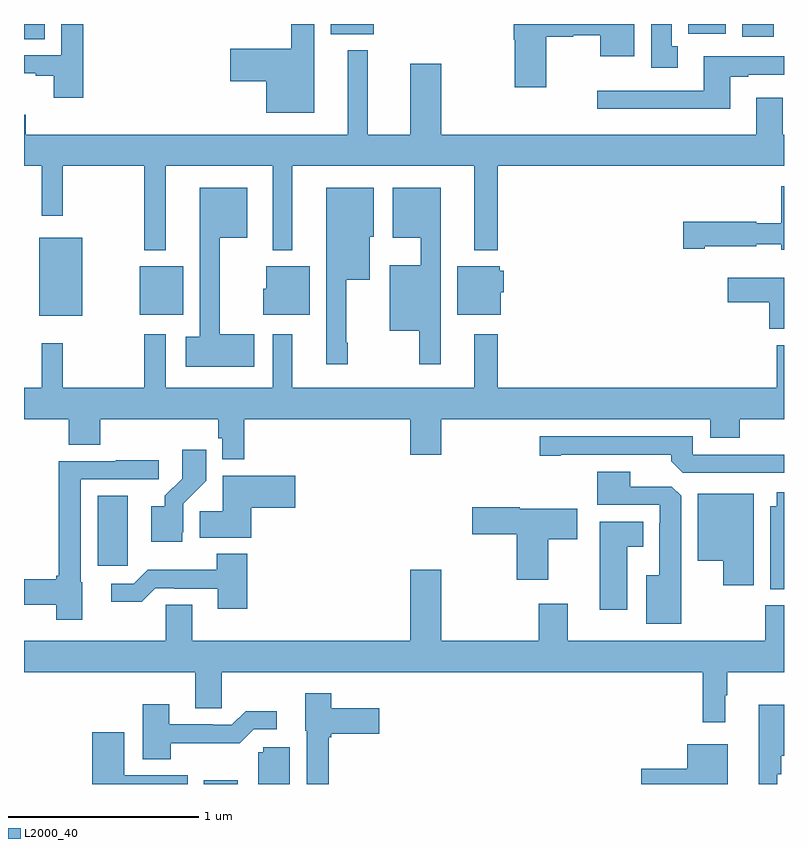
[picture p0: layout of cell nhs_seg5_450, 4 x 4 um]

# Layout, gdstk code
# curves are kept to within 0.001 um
import gdstk
lib = gdstk.Library(unit=1e-6, precision=1e-09)
def R(c, l, rs):  # rectangles x0, y0, x1, y1
    for r in rs: c.add(gdstk.rectangle(r[:2], r[2:], *l))
def P(c, l, *ps):  # polygons
    for p in ps: c.add(gdstk.Polygon(p, *l))
L2000_40 = (2000, 40)

nhs_seg5_450 = lib.new_cell('nhs_seg5_450')
R(nhs_seg5_450, L2000_40, [(139.947,894.799,140.125,894.82), (139.388,895.947,139.546,896.317), (139.079,897.263,139.306,897.673), (139.61,897.269,139.837,897.523), (139,898.72,139.108,898.799), (142.781,898.731,142.945,898.799), (140.615,898.745,140.842,898.799), (142.496,898.748,142.693,898.799)])
P(nhs_seg5_450, L2000_40, [(142.441,898.682),(142.408,898.682),(142.408,898.799),(142.301,898.799),(142.301,898.569),(142.441,898.569)],
  [(141.748,898.732),(141.891,898.732),(141.891,898.74),(142.034,898.74),(142.034,898.628),(142.213,898.628),(142.213,898.799),(141.578,898.799),(141.578,898.715),(141.583,898.715),(141.583,898.467),(141.748,898.467)],
  [(140.527,898.799),(140.406,898.799),(140.406,898.67),(140.085,898.67),(140.085,898.499),(140.276,898.499),(140.276,898.331),(140.527,898.331)],
  [(139.313,898.799),(139.197,898.799),(139.197,898.635),(139,898.635),(139,898.539),(139.061,898.539),(139.061,898.527),(139.157,898.527),(139.157,898.41),(139.313,898.41)],
  [(139.747,898.052),(140.309,898.052),(140.309,897.608),(140.413,897.608),(140.413,898.052),(141.371,898.052),(141.371,897.608),(141.493,897.608),(141.493,898.052),(143,898.052),(143,898.216),(142.993,898.216),(142.993,898.411),(142.853,898.411),(142.853,898.216),(141.196,898.216),(141.196,898.591),(141.032,898.591),(141.032,898.216),(140.809,898.216),(140.809,898.66),(140.705,898.66),(140.705,898.216),(139.01,898.216),(139.01,898.322),(139,898.322),(139,898.052),(139.094,898.052),(139.094,897.789),(139.204,897.789),(139.204,898.052),(139.633,898.052),(139.633,897.608),(139.747,897.608)],
  [(142.717,898.521),(142.813,898.521),(142.813,898.533),(143,898.533),(143,898.629),(142.577,898.629),(142.577,898.449),(142.017,898.449),(142.017,898.352),(142.717,898.352)],
  [(143,897.946),(142.985,897.946),(142.985,897.751),(142.854,897.751),(142.854,897.759),(142.47,897.759),(142.47,897.617),(142.582,897.617),(142.582,897.629),(142.854,897.629),(142.854,897.641),(142.985,897.641),(142.985,897.611),(143,897.611)],
  [(140.212,897.167),(140.029,897.167),(140.029,897.674),(140.176,897.674),(140.176,897.937),(139.925,897.937),(139.925,897.154),(139.851,897.154),(139.851,896.996),(140.212,896.996)],
  [(141.193,897.937),(140.942,897.937),(140.942,897.674),(141.089,897.674),(141.089,897.529),(140.924,897.529),(140.924,897.185),(141.079,897.185),(141.079,897.009),(141.193,897.009)],
  [(140.705,897.121),(140.695,897.121),(140.695,897.452),(140.821,897.452),(140.821,897.678),(140.842,897.678),(140.842,897.937),(140.591,897.937),(140.591,897.009),(140.705,897.009)],
  [(141.508,897.387),(141.526,897.387),(141.526,897.501),(141.504,897.501),(141.504,897.523),(141.281,897.523),(141.281,897.269),(141.508,897.269)],
  [(140.503,897.523),(140.276,897.523),(140.276,897.405),(140.258,897.405),(140.258,897.269),(140.503,897.269)],
  [(143,897.463),(142.704,897.463),(142.704,897.334),(142.922,897.334),(142.922,897.194),(143,897.194)],
  [(140.159,896.72),(141.032,896.72),(141.032,896.532),(141.196,896.532),(141.196,896.72),(142.613,896.72),(142.613,896.621),(142.766,896.621),(142.766,896.72),(143,896.72),(143,897.109),(142.963,897.109),(142.963,896.884),(141.493,896.884),(141.493,897.166),(141.371,897.166),(141.371,896.884),(140.413,896.884),(140.413,897.166),(140.309,897.166),(140.309,896.884),(139.747,896.884),(139.747,897.166),(139.633,897.166),(139.633,896.884),(139.204,896.884),(139.204,897.118),(139.094,897.118),(139.094,896.884),(139,896.884),(139,896.72),(139.235,896.72),(139.235,896.584),(139.4,896.584),(139.4,896.72),(140.023,896.72),(140.023,896.619),(140.043,896.619),(140.043,896.507),(140.159,896.507)],
  [(143,896.532),(142.521,896.532),(142.521,896.628),(141.714,896.628),(141.714,896.527),(141.826,896.527),(141.826,896.532),(142.406,896.532),(142.406,896.498),(142.467,896.436),(143,896.436)],
  [(139.834,896.124),(139.839,896.124),(139.839,896.275),(139.958,896.394),(139.958,896.557),(139.833,896.557),(139.833,896.405),(139.742,896.315),(139.742,896.26),(139.67,896.26),(139.67,896.075),(139.834,896.075)],
  [(139.306,895.86),(139.299,895.86),(139.299,896.403),(139.708,896.403),(139.708,896.502),(139.483,896.502),(139.483,896.499),(139.183,896.499),(139.183,895.895),(139.17,895.895),(139.17,895.877),(139,895.877),(139,895.742),(139.17,895.742),(139.17,895.664),(139.306,895.664)],
  [(142.459,896.315),(142.41,896.364),(142.192,896.364),(142.192,896.443),(142.016,896.443),(142.016,896.268),(142.347,896.268),(142.347,896.171),(142.343,896.171),(142.343,895.897),(142.274,895.897),(142.274,895.643),(142.459,895.643)],
  [(140.195,896.252),(140.428,896.252),(140.428,896.422),(140.045,896.422),(140.045,896.234),(139.924,896.234),(139.924,896.096),(140.195,896.096)],
  [(143,896.335),(142.961,896.335),(142.961,896.26),(142.928,896.26),(142.928,895.825),(143,895.825)],
  [(142.84,896.326),(142.547,896.326),(142.547,895.973),(142.679,895.973),(142.679,895.845),(142.84,895.845)],
  [(141.76,896.086),(141.913,896.086),(141.913,896.248),(141.609,896.248),(141.609,896.256),(141.36,896.256),(141.36,896.114),(141.593,896.114),(141.593,895.875),(141.76,895.875)],
  [(142.174,896.048),(142.258,896.048),(142.258,896.179),(142.031,896.179),(142.031,895.716),(142.174,895.716)],
  [(140.174,896.011),(140.014,896.011),(140.014,895.927),(139.651,895.927),(139.578,895.854),(139.458,895.854),(139.458,895.757),(139.619,895.757),(139.692,895.83),(139.792,895.83),(139.792,895.827),(140.021,895.827),(140.021,895.722),(140.174,895.722)],
  [(142.69,895.265),(142.702,895.265),(142.702,895.388),(143,895.388),(143,895.74),(142.9,895.74),(142.9,895.552),(141.862,895.552),(141.862,895.747),(141.71,895.747),(141.71,895.552),(141.196,895.552),(141.196,895.927),(141.032,895.927),(141.032,895.552),(139.885,895.552),(139.885,895.742),(139.746,895.742),(139.746,895.552),(139,895.552),(139,895.388),(139.901,895.388),(139.901,895.198),(140.04,895.198),(140.04,895.388),(142.573,895.388),(142.573,895.125),(142.69,895.125)],
  [(140.603,895.046),(140.616,895.046),(140.616,895.064),(140.869,895.064),(140.869,895.198),(140.616,895.198),(140.616,895.276),(140.48,895.276),(140.48,895.08),(140.487,895.08),(140.487,894.799),(140.603,894.799)],
  [(139.773,895.014),(140.135,895.013),(140.208,895.086),(140.329,895.086),(140.329,895.183),(140.167,895.183),(140.094,895.11),(139.994,895.11),(139.994,895.113),(139.765,895.113),(139.765,895.219),(139.625,895.219),(139.625,894.929),(139.773,894.929)],
  [(142.965,894.851),(142.985,894.851),(142.985,894.947),(143,894.947),(143,895.216),(142.868,895.216),(142.868,894.799),(142.965,894.799)],
  [(139.862,894.844),(139.528,894.844),(139.528,895.072),(139.358,895.072),(139.358,894.799),(139.862,894.799)],
  [(142.705,895.009),(142.49,895.009),(142.49,894.878),(142.248,894.878),(142.248,894.799),(142.705,894.799)],
  [(140.398,894.993),(140.259,894.993),(140.259,894.966),(140.234,894.966),(140.234,894.799),(140.398,894.799)])

lib.write_gds('nhs_seg5_450.gds')
